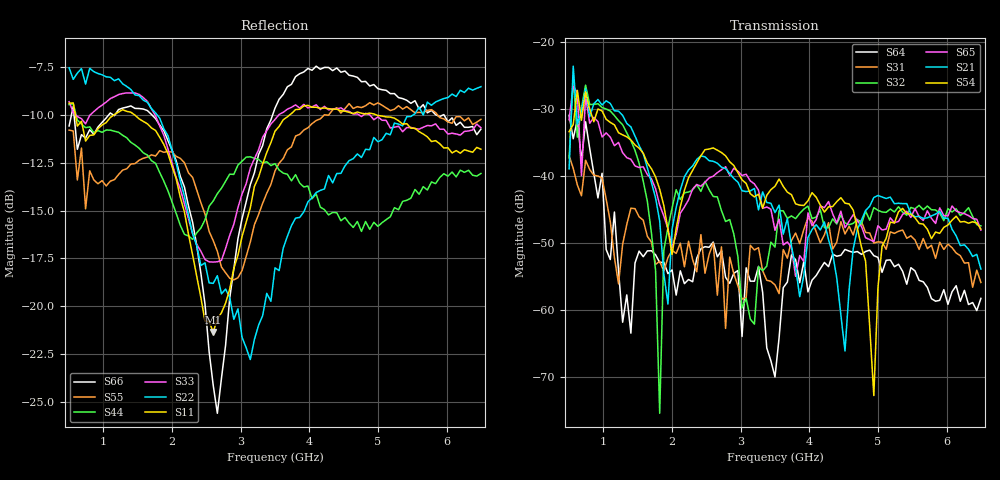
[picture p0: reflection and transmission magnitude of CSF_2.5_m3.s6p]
!Keysight Technologies,M9804A,MY58100912,A.14.10.03
!Date: Thursday, April 27, 2023 10:28:33
!Correction: S11(C  6-Port  )
!S12(C  6-Port  )
!S13(C  6-Port  )
!S14(C  6-Port  )
!S15(C  6-Port  )
!S16(C  6-Port  )
!S21(C  6-Port  )
!S22(C  6-Port  )
!S23(C  6-Port  )
!S24(C  6-Port  )
!S25(C  6-Port  )
!S26(C  6-Port  )
!S31(C  6-Port  )
!S32(C  6-Port  )
!S33(C  6-Port  )
!S34(C  6-Port  )
!S35(C  6-Port  )
!S36(C  6-Port  )
!S41(C  6-Port  )
!S42(C  6-Port  )
!S43(C  6-Port  )
!S44(C  6-Port  )
!S45(C  6-Port  )
!S46(C  6-Port  )
!S51(C  6-Port  )
!S52(C  6-Port  )
!S53(C  6-Port  )
!S54(C  6-Port  )
!S55(C  6-Port  )
!S56(C  6-Port  )
!S61(C  6-Port  )
!S62(C  6-Port  )
!S63(C  6-Port  )
!S64(C  6-Port  )
!S65(C  6-Port  )
!S66(C  6-Port  )
!S6P File: Measurement: :
# Hz S  RI  R 50
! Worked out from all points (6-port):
!   101 points, 500 MHz to 6.5 GHz, reference 50 ohm
!   strongest paths, dB at 500 MHz, 2 GHz, 3.5 GHz, 5 GHz, 6.5 GHz:
!     S54: -33.3, -51.7, -41.5, -56.6, -47.9
!     S21: -38.9, -47.9, -45.4, -42.9, -53.9
!     S65: -31.6, -50.7, -48.1, -47.4, -48.0
!     S32: -37.3, -44.7, -50.6, -45.1, -47.4
!     S31: -36.9, -51.1, -56.2, -49.8, -55.9
!     S64: -30.9, -54.0, -70.0, -52.1, -58.2
!   lowest |S11| = -21.4 dB at 2.6 GHz (marker M1), VSWR 1.19, Z = 42.4 + j2.3 ohm
!   |S11| at or under -10 dB: 591.8 MHz to 1.146 GHz (554.4 MHz wide, 63.8 % of centre); 1.461 GHz to 3.709 GHz (2.249 GHz wide, 87 % of centre); 4.989 GHz to end of sweep
